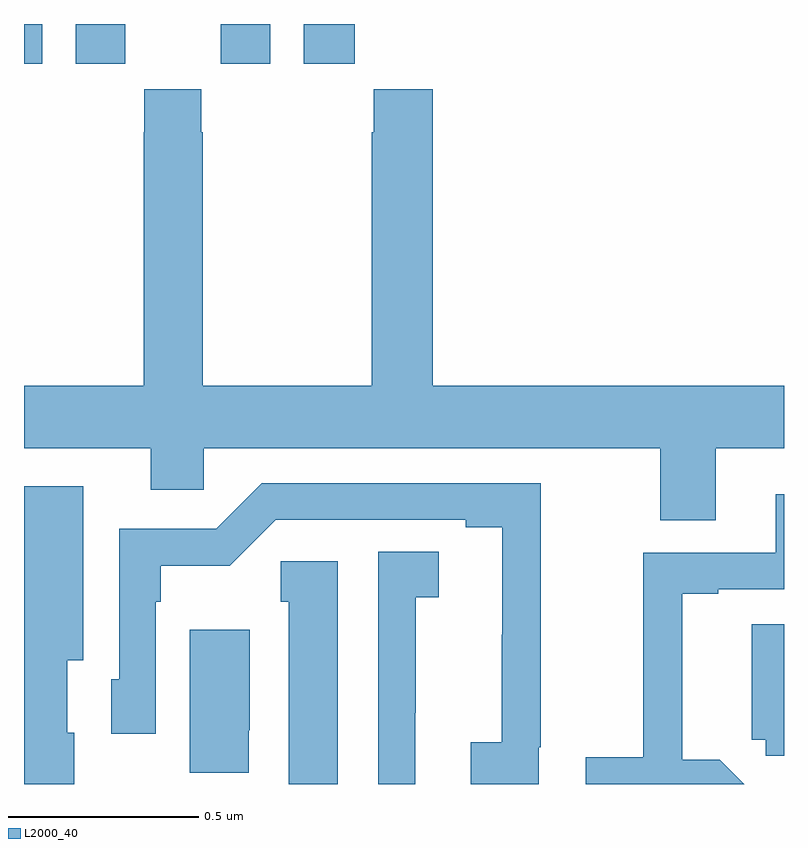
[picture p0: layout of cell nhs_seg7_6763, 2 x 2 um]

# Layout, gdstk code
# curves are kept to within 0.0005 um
import gdstk
lib = gdstk.Library(unit=1e-6, precision=1e-09)
def R(c, l, rs):  # rectangles x0, y0, x1, y1
    for r in rs: c.add(gdstk.rectangle(r[:2], r[2:], *l))
def P(c, l, *ps):  # polygons
    for p in ps: c.add(gdstk.Polygon(p, *l))
L2000_40 = (2000, 40)

nhs_seg7_6763 = lib.new_cell('nhs_seg7_6763')
R(nhs_seg7_6763, L2000_40, [(202,1066.896,202.048,1067), (202.136,1066.896,202.266,1067), (202.518,1066.896,202.648,1067), (202.736,1066.896,202.87,1067)])
P(nhs_seg7_6763, L2000_40, [(203.821,1065.884),(204,1065.884),(204,1066.048),(203.075,1066.048),(203.075,1066.828),(202.921,1066.828),(202.921,1066.715),(202.915,1066.715),(202.915,1066.048),(202.47,1066.048),(202.47,1066.715),(202.467,1066.715),(202.467,1066.828),(202.317,1066.828),(202.317,1066.715),(202.315,1066.715),(202.315,1066.048),(202,1066.048),(202,1065.884),(202.334,1065.884),(202.334,1065.774),(202.473,1065.774),(202.473,1065.884),(203.674,1065.884),(203.674,1065.694),(203.821,1065.694)],
  [(203.354,1065.097),(203.36,1065.097),(203.36,1065.792),(202.626,1065.792),(202.506,1065.672),(202.251,1065.672),(202.251,1065.276),(202.23,1065.276),(202.23,1065.132),(202.347,1065.132),(202.347,1065.479),(202.36,1065.479),(202.36,1065.575),(202.541,1065.575),(202.662,1065.696),(203.162,1065.696),(203.162,1065.676),(203.258,1065.676),(203.257,1065.11),(203.175,1065.11),(203.175,1065),(203.354,1065)],
  [(202.132,1065.135),(202.114,1065.135),(202.114,1065.326),(202.156,1065.326),(202.156,1065.784),(202,1065.784),(202,1065),(202.132,1065)],
  [(203.831,1065.064),(203.732,1065.064),(203.732,1065.501),(203.827,1065.501),(203.827,1065.513),(204,1065.513),(204,1065.763),(203.978,1065.763),(203.978,1065.609),(203.629,1065.609),(203.629,1065.071),(203.478,1065.071),(203.478,1065),(203.895,1065)],
  [(203.029,1065.187),(203.031,1065.187),(203.031,1065.491),(203.092,1065.491),(203.092,1065.611),(202.932,1065.611),(202.932,1065),(203.029,1065)],
  [(202.825,1065.586),(202.675,1065.586),(202.675,1065.48),(202.697,1065.48),(202.697,1065),(202.825,1065)],
  [(204,1065.421),(203.915,1065.421),(203.915,1065.116),(203.952,1065.116),(203.952,1065.074),(204,1065.074)],
  [(202.592,1065.142),(202.594,1065.142),(202.594,1065.406),(202.436,1065.406),(202.436,1065.03),(202.592,1065.03)])

lib.write_gds('nhs_seg7_6763.gds')
